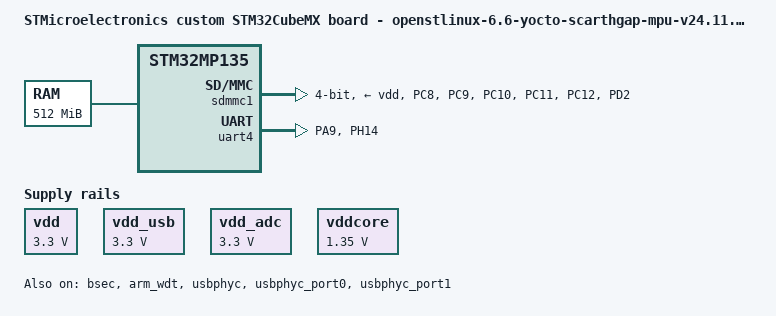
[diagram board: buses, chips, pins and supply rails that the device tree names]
// SPDX-License-Identifier: (GPL-2.0-or-later OR BSD-3-Clause)
/*
 * Copyright (C) 2026, STMicroelectronics - All Rights Reserved
 * Author: STM32CubeMX code generation for STMicroelectronics.
 */

/* For more information on Device Tree configuration, please refer to
 * https://wiki.st.com/stm32mpu/wiki/Category:Device_tree_configuration
 */

/dts-v1/;

#include <dt-bindings/pinctrl/stm32-pinfunc.h>
#include "stm32mp135.dtsi"
#include "stm32mp13xf.dtsi"

/* USER CODE BEGIN includes */
#include <dt-bindings/gpio/gpio.h>
#include <dt-bindings/input/input.h>
#include <dt-bindings/leds/common.h>
#include <dt-bindings/pwm/pwm.h>
#include <dt-bindings/rtc/rtc-stm32.h>
/* USER CODE END includes */

/ {
	model = "STMicroelectronics custom STM32CubeMX board - openstlinux-6.6-yocto-scarthgap-mpu-v24.11.06";
	compatible = "st,stm32mp135f-lty-mx", "st,stm32mp135";

	memory@c0000000 {
		device_type = "memory";
		reg = <0xc0000000 0x20000000>;

		/* USER CODE BEGIN memory */
		/* USER CODE END memory */
	};

	reserved-memory {
		#address-cells = <1>;
		#size-cells = <1>;
		ranges;

		/* USER CODE BEGIN reserved-memory */
		optee@de000000 {
			reg = <0xde000000 0x02000000>;
			no-map;
		};
		/* USER CODE END reserved-memory */
	};

	/* USER CODE BEGIN root */
	aliases {
		serial0 = &uart4;
		mmc0 = &sdmmc1;
	};

	chosen {
		stdout-path = "serial0:115200n8";
	};
	
	vdd: vdd {
			compatible = "regulator-fixed";
			regulator-name = "vdd";
			regulator-min-microvolt = <3300000>;
			regulator-max-microvolt = <3300000>;
			regulator-always-on;
		};

		vdd_usb: vdd_usb {
			compatible = "regulator-fixed";
			regulator-name = "vdd_usb";
			regulator-min-microvolt = <3300000>;
			regulator-max-microvolt = <3300000>;
			regulator-always-on;
		};

		vdd_adc: vdd_adc {
			compatible = "regulator-fixed";
			regulator-name = "vdd_adc";
			regulator-min-microvolt = <3300000>;
			regulator-max-microvolt = <3300000>;
			regulator-always-on;
		};

		vddcore: vddcore {
			compatible = "regulator-fixed";
			regulator-name = "vddcore";
			regulator-min-microvolt = <1350000>;
			regulator-max-microvolt = <1350000>;
			regulator-always-on;
		};

	/* USER CODE END root */

	clocks{

		/* USER CODE BEGIN clocks */
		/* USER CODE END clocks */
	};

}; /*root*/

&pinctrl {

	/* USER CODE BEGIN pinctrl */
	uart4_pins_mx: uart4_mx-0 {
			pins1 {
				pinmux = <STM32_PINMUX('A', 9, AF8)>; /* UART4_TX */
				bias-disable;
				drive-push-pull;
				slew-rate = <0>;
			};
			pins2 {
				pinmux = <STM32_PINMUX('H', 14, AF8)>; /* UART4_RX */
				bias-disable;
			};
		};
		
		uart4_idle_pins_mx: uart4_idle_mx-0 {
			pins1 {
				pinmux = <STM32_PINMUX('D', 6, AF8)>; /* UART4_TX */
				bias-disable;
				drive-push-pull;
				slew-rate = <0>;
			};
			pins2 {
				pinmux = <STM32_PINMUX('D', 8, AF8)>; /* UART4_RX */
				bias-disable;
			};
		};
		
		uart4_sleep_pins_mx: uart4_sleep_mx-0 {
			pins {
				pinmux = <STM32_PINMUX('D', 6, ANALOG)>, /* UART4_TX */
						 <STM32_PINMUX('D', 8, ANALOG)>; /* UART4_RX */
			};
		};
	
	sdmmc1_pins_mx: sdmmc1_mx-0 {
		pins {
			pinmux = <STM32_PINMUX('C', 8, AF12)>, /* SDMMC1_D0 */
					 <STM32_PINMUX('C', 9, AF12)>, /* SDMMC1_D1 */
					 <STM32_PINMUX('C', 10, AF12)>, /* SDMMC1_D2 */
					 <STM32_PINMUX('C', 11, AF12)>, /* SDMMC1_D3 */
					 <STM32_PINMUX('C', 12, AF12)>, /* SDMMC1_CK */
					 <STM32_PINMUX('D', 2, AF12)>; /* SDMMC1_CMD */
			bias-disable;
			drive-push-pull;
			slew-rate = <1>;
		};
	};
	
	sdmmc1_opendrain_pins_mx: sdmmc1_opendrain_mx-0 {
		pins1 {
			pinmux = <STM32_PINMUX('C', 8, AF12)>, /* SDMMC1_D0 */
					 <STM32_PINMUX('C', 9, AF12)>, /* SDMMC1_D1 */
					 <STM32_PINMUX('C', 10, AF12)>, /* SDMMC1_D2 */
					 <STM32_PINMUX('C', 11, AF12)>, /* SDMMC1_D3 */
					 <STM32_PINMUX('C', 12, AF12)>; /* SDMMC1_CK */
			bias-disable;
			drive-push-pull;
			slew-rate = <1>;
		};
		pins2 {
			pinmux = <STM32_PINMUX('D', 2, AF12)>; /* SDMMC1_CMD */
			bias-disable;
			drive-open-drain;
			slew-rate = <1>;
		};
	};
	
	sdmmc1_sleep_pins_mx: sdmmc1_sleep_mx-0 {
		pins {
			pinmux = <STM32_PINMUX('C', 8, ANALOG)>, /* SDMMC1_D0 */
					 <STM32_PINMUX('C', 9, ANALOG)>, /* SDMMC1_D1 */
					 <STM32_PINMUX('C', 10, ANALOG)>, /* SDMMC1_D2 */
					 <STM32_PINMUX('C', 11, ANALOG)>, /* SDMMC1_D3 */
					 <STM32_PINMUX('C', 12, ANALOG)>, /* SDMMC1_CK */
					 <STM32_PINMUX('D', 2, ANALOG)>; /* SDMMC1_CMD */
		};
	};
	/* USER CODE END pinctrl */
};

&bsec {
	status = "okay";

	/* USER CODE BEGIN bsec */
	/* USER CODE END bsec */
};

&dmamux1 {
	status = "okay";

	/* !!! log : Warning - No dma master found  !!! */

	/* USER CODE BEGIN dmamux1 */
	dma-masters = <&dma1 &dma2>;
	dma-channels = <16>;
	/* USER CODE END dmamux1 */
};

&mdma {
	status = "okay";

	/* USER CODE BEGIN mdma */
	/* USER CODE END mdma */
};

&rcc {
	status = "okay";

	/* USER CODE BEGIN rcc */
	/* USER CODE END rcc */
};

/* USER CODE BEGIN addons */
&arm_wdt {
	timeout-sec = <32>;
	status = "okay";
};

&cpu0 {
	cpu-supply = <&vddcore>;
};

&dma1 {
	status = "okay";
};

&dma2 {
	status = "okay";
};

//&etzpc {
//	status = "okay";
//	st,decprot = <
//		DECPROT(STM32MP1_ETZPC_DDRCTRLPHY_ID, DECPROT_NS_R_S_W, DECPROT_LOCK)
//		DECPROT(STM32MP1_ETZPC_HASH_ID, DECPROT_S_RW, DECPROT_UNLOCK)
//		DECPROT(STM32MP1_ETZPC_IWDG1_ID, DECPROT_S_RW, DECPROT_UNLOCK)
//		DECPROT(STM32MP1_ETZPC_PKA_ID, DECPROT_S_RW, DECPROT_UNLOCK)
//		DECPROT(STM32MP1_ETZPC_RNG_ID, DECPROT_S_RW, DECPROT_UNLOCK)
//		DECPROT(STM32MP1_ETZPC_SAES_ID, DECPROT_S_RW, DECPROT_UNLOCK)
//		DECPROT(STM32MP1_ETZPC_STGENC_ID, DECPROT_S_RW, DECPROT_UNLOCK)
//		DECPROT(STM32MP1_ETZPC_SDMMC1_ID, DECPROT_NS_RW, DECPROT_UNLOCK)
//	>;
//};

&rcc {
	status = "okay";
};

&sdmmc1 {
    pinctrl-names = "default", "opendrain", "sleep";
    pinctrl-0 = <&sdmmc1_pins_mx>;
    pinctrl-1 = <&sdmmc1_opendrain_pins_mx>;
    pinctrl-2 = <&sdmmc1_sleep_pins_mx>;

    disable-wp;
    st,neg-edge;
    bus-width = <4>;
    vmmc-supply = <&vdd>;   // yours is fine if regulator exists

    status = "okay";
};

&uart4 {
	pinctrl-names = "default", "idle", "sleep";
	pinctrl-0 = <&uart4_pins_mx>;
	pinctrl-1 = <&uart4_idle_pins_mx>;
	pinctrl-2 = <&uart4_sleep_pins_mx>;
	
	/delete-property/ dmas;
	/delete-property/ dma-names;
	
	status = "okay";
};

&usbphyc {
	status = "okay";
};

&usbphyc_port0 {
	status = "okay";
	phy-supply = <&vdd_usb>;
};

&usbphyc_port1 {
	status = "okay";
	phy-supply = <&vdd_usb>;
};
/* USER CODE END addons */

